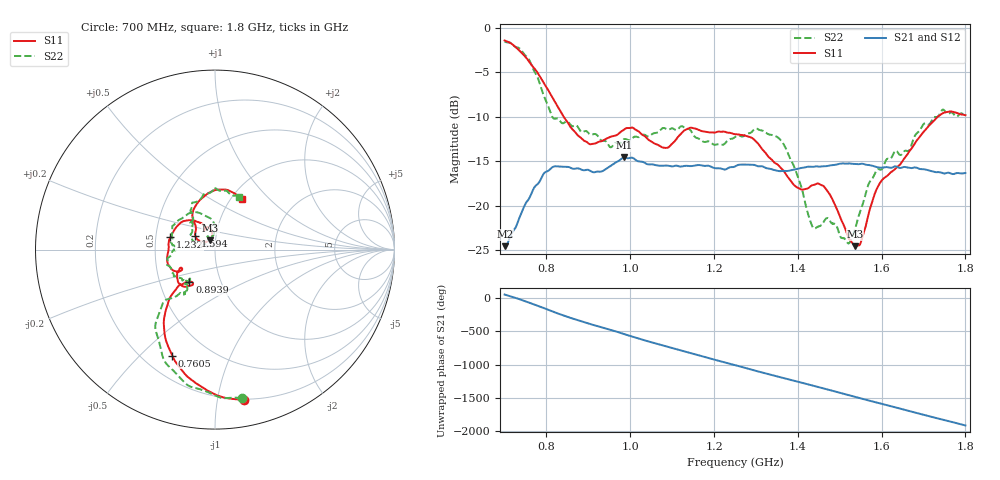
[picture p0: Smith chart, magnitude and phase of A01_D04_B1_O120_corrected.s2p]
! Created with skrf 1.9.0 (http://scikit-rf.org).
# Hz S RI R 50.0
!freq ReS11 ImS11 ReS21 ImS21 ReS12 ImS12 ReS22 ImS22
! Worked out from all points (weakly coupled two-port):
!   1601 points, 700 MHz to 1.8 GHz, reference 50 ohm
!   highest |S21| = -14.56 dB at 986 MHz (marker M1); lowest = -24.6 dB at 700.7 MHz (marker M2)
!   lowest |S11| = -24.6 dB at 1.537 GHz (marker M3), VSWR 1.13, Z = 47.2 + j5 ohm
!   |S11| at or under -10 dB: 841.2 MHz to 1.734 GHz (892.6 MHz wide, 69.3 % of centre)
!   |S22| runs from -24.3 to -1.5 dB; largest |S21 - S12| = 0.0035
!   S11 on the Smith chart (normalised r, x): 700 MHz: 0.20, -1.19; 760.5 MHz: 0.32, -0.63; 893.9 MHz: 0.71, -0.27; 1.232 GHz: 0.60, +0.09; 1.594 GHz: 0.80, +0.12; 1.8 GHz: 1.12, +0.71
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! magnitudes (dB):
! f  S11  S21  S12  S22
! 700 MHz  -1.4  -24.6  -24.4  -1.5
! 700.7 MHz  -1.4  -24.6  -24.3  -1.5
! 760.5 MHz  -3.9  -19.0  -18.9  -3.7
! 814.8 MHz  -7.9  -15.7  -15.7  -10.1
! 883.6 MHz  -12.4  -16.0  -15.8  -11.7
! 893.9 MHz  -12.8  -16.0  -16.1  -11.6
! 986 MHz  -11.4  -14.6  -14.7  -12.5
! 1.067 GHz  -13.2  -15.5  -15.4  -11.7
! 1.143 GHz  -11.2  -15.6  -15.5  -11.5
! 1.232 GHz  -11.8  -15.8  -15.8  -12.7
! 1.25 GHz  -12.0  -15.6  -15.5  -12.3
! 1.359 GHz  -15.7  -16.1  -16.1  -12.6
! 1.4 GHz  -18.0  -15.9  -15.9  -16.8
! 1.434 GHz  -17.7  -15.6  -15.6  -22.3
! 1.469 GHz  -18.3  -15.6  -15.5  -21.4
! 1.52 GHz  -23.5  -15.3  -15.3  -24.2
! 1.537 GHz  -24.6  -15.3  -15.3  -22.6
! 1.569 GHz  -20.9  -15.4  -15.4  -17.6
! 1.594 GHz  -17.6  -15.7  -15.7  -15.9
! 1.617 GHz  -16.5  -15.7  -15.7  -14.7
! 1.737 GHz  -9.9  -16.2  -16.3  -9.8
! 1.8 GHz  -9.8  -16.3  -16.3  -9.9
